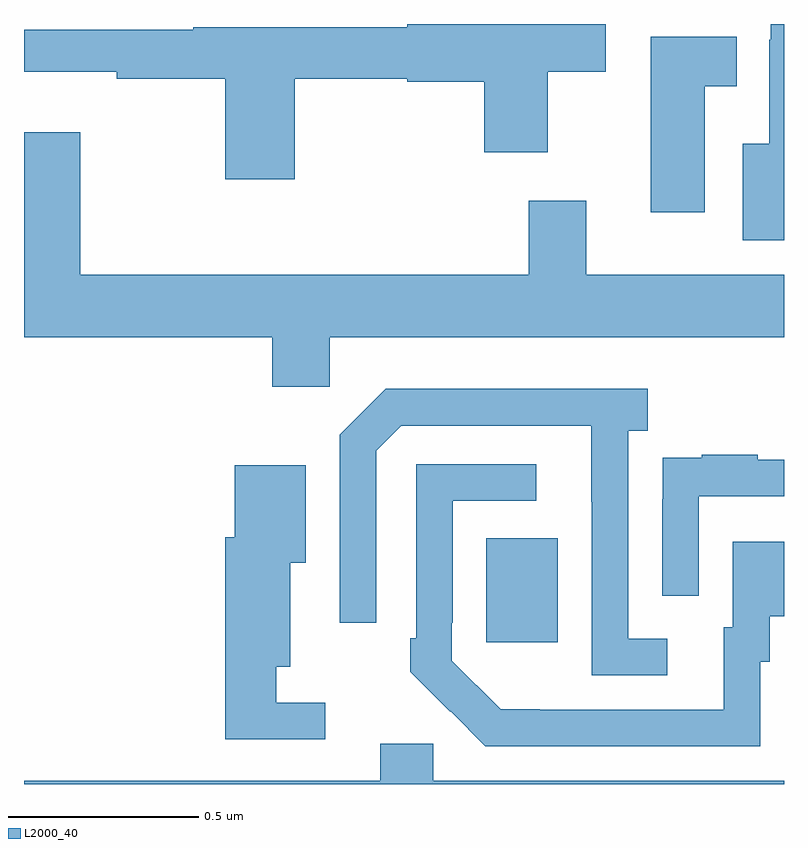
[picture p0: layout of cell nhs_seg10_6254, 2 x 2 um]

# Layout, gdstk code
import gdstk
lib = gdstk.Library(unit=1e-6, precision=1e-09)
def R(c, l, rs):  # rectangles x0, y0, x1, y1
    for r in rs: c.add(gdstk.rectangle(r[:2], r[2:], *l))
def P(c, l, *ps):  # polygons
    for p in ps: c.add(gdstk.Polygon(p, *l))
L2000_40 = (2000, 40)

nhs_seg10_6254 = lib.new_cell('nhs_seg10_6254')
R(nhs_seg10_6254, L2000_40, [(190.217,1272.873,190.405,1273.147)])
P(nhs_seg10_6254, L2000_40, [(191,1274.5),(190.965,1274.5),(190.965,1274.459),(190.961,1274.459),(190.961,1274.185),(190.892,1274.185),(190.892,1273.931),(191,1273.931)],
  [(189.713,1274.356),(190.008,1274.356),(190.008,1274.348),(190.211,1274.348),(190.211,1274.163),(190.378,1274.163),(190.378,1274.374),(190.531,1274.374),(190.531,1274.5),(190.008,1274.5),(190.008,1274.492),(189.446,1274.492),(189.446,1274.485),(189,1274.485),(189,1274.375),(189.244,1274.375),(189.244,1274.356),(189.53,1274.356),(189.53,1274.091),(189.713,1274.091)],
  [(190.792,1274.336),(190.876,1274.336),(190.876,1274.467),(190.649,1274.467),(190.649,1274.004),(190.792,1274.004)],
  [(189.804,1273.676),(191,1273.676),(191,1273.84),(190.48,1273.84),(190.48,1274.035),(190.328,1274.035),(190.328,1273.84),(189.148,1273.84),(189.148,1274.215),(189,1274.215),(189,1273.676),(189.653,1273.676),(189.653,1273.545),(189.804,1273.545)],
  [(190.693,1272.882),(190.59,1272.882),(190.59,1273.43),(190.642,1273.43),(190.642,1273.54),(189.952,1273.54),(189.831,1273.419),(189.831,1272.924),(189.927,1272.924),(189.927,1273.377),(189.993,1273.443),(190.493,1273.443),(190.493,1273.243),(190.494,1273.243),(190.494,1272.786),(190.693,1272.786)],
  [(190.776,1273.257),(191,1273.257),(191,1273.353),(190.931,1273.353),(190.931,1273.366),(190.783,1273.366),(190.783,1273.359),(190.681,1273.359),(190.681,1273.25),(190.68,1273.25),(190.68,1272.996),(190.776,1272.996)],
  [(190.938,1272.822),(190.963,1272.822),(190.963,1272.941),(191,1272.941),(191,1273.138),(190.865,1273.138),(190.865,1272.912),(190.841,1272.912),(190.841,1272.696),(190.357,1272.696),(190.357,1272.697),(190.254,1272.697),(190.125,1272.825),(190.125,1272.925),(190.128,1272.925),(190.128,1273.245),(190.348,1273.245),(190.348,1273.341),(190.032,1273.341),(190.032,1272.883),(190.017,1272.883),(190.017,1272.795),(190.122,1272.69),(190.123,1272.691),(190.214,1272.6),(190.938,1272.6)],
  [(189.793,1272.714),(189.664,1272.714),(189.664,1272.809),(189.7,1272.809),(189.7,1273.082),(189.742,1273.082),(189.742,1273.339),(189.554,1273.339),(189.554,1273.149),(189.53,1273.149),(189.53,1272.618),(189.793,1272.618)],
  [(191,1272.508),(190.077,1272.508),(190.077,1272.606),(189.938,1272.606),(189.938,1272.508),(189,1272.508),(189,1272.5),(191,1272.5)])

lib.write_gds('nhs_seg10_6254.gds')
